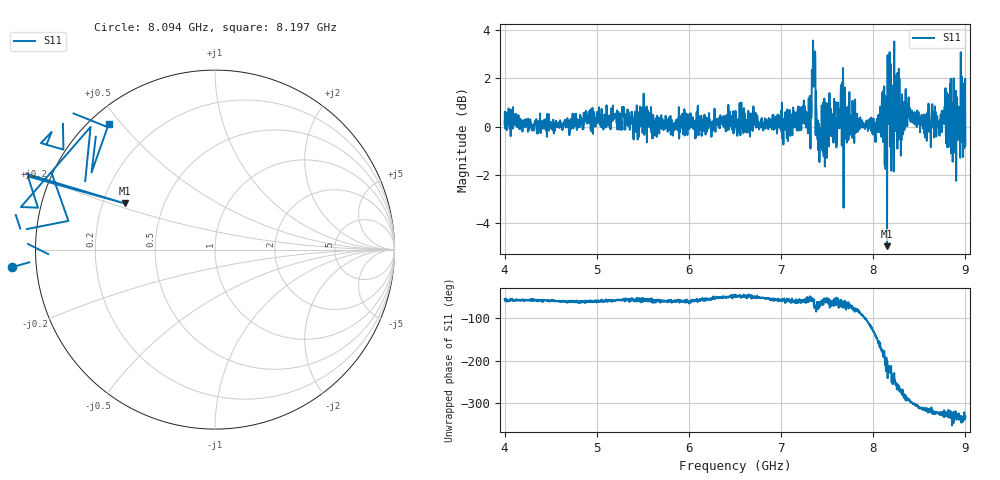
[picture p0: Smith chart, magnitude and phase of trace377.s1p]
! Created with skrf 1.8.0 (http://scikit-rf.org).
# Hz S RI R 50.0
!freq ReS11 ImS11
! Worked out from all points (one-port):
!   1601 points, 4 GHz to 9 GHz, reference 50 ohm
!   lowest |S11| = -4.9 dB at 8.15 GHz (marker M1), VSWR 3.61, Z = 14.6 + j11.1 ohm
!   |S11| at or under -10 dB: nowhere
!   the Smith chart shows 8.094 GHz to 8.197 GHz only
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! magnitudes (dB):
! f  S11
! 4 GHz  0.1
! 4.625 GHz  -0.1
! 5.25 GHz  -0.1
! 5.875 GHz  0.3
! 6.5 GHz  0.2
! 7.125 GHz  0.4
! 7.297 GHz  0.4
! 7.347 GHz  3.6
! 7.366 GHz  2.3
! 7.4 GHz  0.3
! 7.428 GHz  -0.1
! 7.509 GHz  -0.3
! 7.619 GHz  1.0
! 7.65 GHz  1.7
! 7.703 GHz  0.2
! 7.75 GHz  0.5
! 8.097 GHz  0.3
! 8.15 GHz  -4.9
! 8.178 GHz  3.1
! 8.197 GHz  -0.8
! 8.253 GHz  0.9
! 8.316 GHz  1.0
! 8.375 GHz  0.8
! 8.562 GHz  -0.4
! 8.759 GHz  0.4
! 8.875 GHz  0.4
! 8.972 GHz  0.1
! 9 GHz  -0.8
